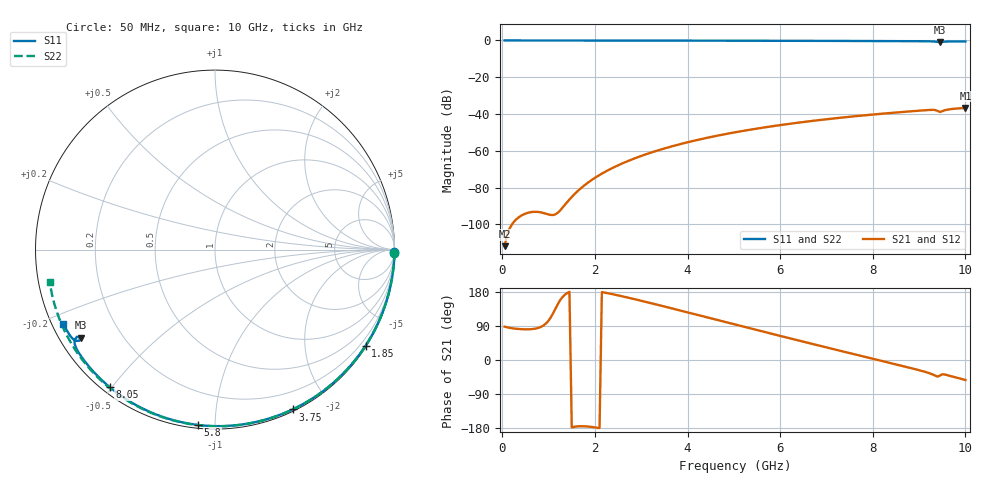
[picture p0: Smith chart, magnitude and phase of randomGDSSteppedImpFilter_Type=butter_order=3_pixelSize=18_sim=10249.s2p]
! freq	dB(S11)	phase(S11)	dB(S12)	phase(S12)
!  dB(S21)	phase(S21)	dB(S22)	phase(S22)
!S-par simulation data
#  GHz  S  DB  R 50
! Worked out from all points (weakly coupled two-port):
!   200 points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, 50 MHz to 10 GHz, reference 50 ohm
!   highest |S21| = -36.68 dB at 10 GHz (marker M1); lowest = -111.9 dB at 50 MHz (marker M2)
!   lowest |S11| = -1.0 dB at 9.45 GHz (marker M3), VSWR 18.19, Z = 2.99 - j14.9 ohm
!   |S11| at or under -10 dB: nowhere
!   |S22| runs from -0.6 to 0.0 dB; largest |S21 - S12| = 0
!   S11 on the Smith chart (normalised r, x): 50 MHz: open; 1.85 GHz: 0.03, -3.43; 3.75 GHz: 0.02, -1.60; 5.8 GHz: 0.02, -0.91; 8.05 GHz: 0.02, -0.49; 10 GHz: 0.03, -0.23
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0.05  -0.00 -0.9  -111.87 88.1  -111.87 88.1  -0.00 -1.0
0.85  -0.02 -15.1  -93.57 88.3  -93.57 88.3  -0.02 -16.6
1.7  -0.04 -29.9  -80.29 -174.7  -80.29 -174.7  -0.04 -32.7
1.75  -0.04 -30.8  -79.25 -174.8  -79.25 -174.8  -0.04 -33.7
1.85  -0.04 -32.5  -77.31 -175.6  -77.31 -175.6  -0.05 -35.6
2.15  -0.05 -37.7  -72.42 179.2  -72.42 179.2  -0.05 -41.2
2.5  -0.06 -43.6  -67.90 170.6  -67.90 170.6  -0.06 -47.6
2.9  -0.07 -50.3  -63.72 159.3  -63.72 159.3  -0.07 -54.9
3.4  -0.08 -58.5  -59.48 144.3  -59.48 144.3  -0.08 -63.8
3.75  -0.09 -64.1  -56.98 133.5  -56.98 133.5  -0.09 -69.9
4.4  -0.11 -74.4  -53.06 113.2  -53.06 113.2  -0.12 -81.0
5.05  -0.13 -84.3  -49.84 93.0  -49.84 93.0  -0.14 -91.7
5.8  -0.16 -95.5  -46.76 69.8  -46.76 69.8  -0.18 -103.8
6.7  -0.21 -108.5  -43.73 42.2  -43.73 42.2  -0.23 -117.9
8.05  -0.31 -127.5  -40.18 1.8  -40.18 1.8  -0.34 -138.6
8.35  -0.34 -131.7  -39.51 -7.1  -39.51 -7.1  -0.36 -143.2
9.25  -0.48 -145.2  -37.76 -36.1  -37.76 -36.1  -0.46 -157.1
9.35  -0.62 -147.2  -37.86 -41.4  -37.86 -41.4  -0.47 -158.6
9.45  -0.96 -146.7  -38.88 -41.0  -38.88 -41.0  -0.49 -160.2
9.55  -0.66 -146.7  -37.99 -38.1  -37.99 -38.1  -0.50 -161.8
9.7  -0.55 -149.4  -37.30 -43.2  -37.30 -43.2  -0.52 -164.2
10  -0.54 -154.0  -36.68 -52.7  -36.68 -52.7  -0.56 -169.0
